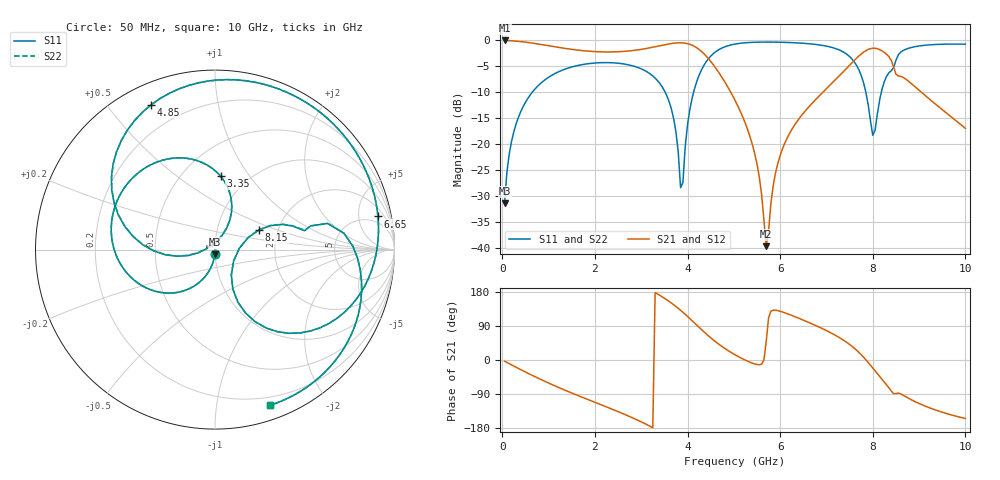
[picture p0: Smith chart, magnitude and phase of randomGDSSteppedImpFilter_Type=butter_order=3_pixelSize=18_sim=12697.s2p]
! freq	dB(S11)	phase(S11)	dB(S12)	phase(S12)
!  dB(S21)	phase(S21)	dB(S22)	phase(S22)
!S-par simulation data
#  GHz  S  DB  R 50
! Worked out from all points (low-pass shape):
!   200 points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, 50 MHz to 10 GHz, reference 50 ohm
!   highest |S21| = -0.01 dB at 50 MHz (marker M1); lowest = -39.7 dB at 5.7 GHz (marker M2)
!   |S21| within 3 dB of the highest: start of sweep to 4.401 GHz; 7.7 GHz to 8.335 GHz (634.7 MHz wide, 7.92 % of centre)
!   lowest |S11| = -31.4 dB at 50 MHz (marker M3), VSWR 1.06, Z = 49.8 - j2.68 ohm
!   |S11| at or under -10 dB: start of sweep to 646.6 MHz; 3.517 GHz to 4.131 GHz (613.8 MHz wide, 16.1 % of centre); 7.851 GHz to 8.185 GHz (333.8 MHz wide, 4.16 % of centre)
!   |S22| runs from -31.4 to -0.3 dB; largest |S21 - S12| = 0
!   S11 on the Smith chart (normalised r, x): 50 MHz: 1.00, -0.05; 3.35 GHz: 0.75, +0.74; 4.85 GHz: 0.09, +0.65; 6.65 GHz: 3.33, +8.68; 8.15 GHz: 1.60, +0.38; 10 GHz: 0.12, -1.41
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0.05  -31.38 -93.3  -0.01 -3.3  -0.01 -3.3  -31.38 -93.3
0.2  -19.45 -103.4  -0.07 -12.9  -0.07 -12.9  -19.45 -103.4
0.5  -11.94 -122.3  -0.33 -31.7  -0.33 -31.7  -11.94 -122.3
1.75  -4.63 170.0  -1.98 -99.5  -1.98 -99.5  -4.63 170.0
3.35  -7.73 85.7  -1.13 174.3  -1.13 174.3  -7.73 85.8
3.4  -8.27 82.3  -1.03 170.7  -1.03 170.7  -8.27 82.5
3.7  -15.04 62.8  -0.54 145.9  -0.54 145.9  -15.03 63.1
3.85  -28.38 88.6  -0.46 131.2  -0.46 131.2  -28.17 89.8
4.2  -7.89 176.2  -1.43 92.0  -1.43 92.0  -7.89 176.0
4.85  -1.09 113.7  -8.67 26.9  -8.67 26.9  -1.09 113.7
5.05  -0.66 99.0  -11.98 12.2  -11.98 12.2  -0.66 99.0
5.5  -0.34 71.1  -23.83 -11.9  -23.83 -11.9  -0.34 71.1
5.7  -0.32 60.2  -39.66 50.2  -39.66 50.2  -0.32 60.1
6  -0.35 44.5  -22.17 128.7  -22.17 128.7  -0.35 44.5
6.65  -0.66 11.5  -12.50 97.4  -12.50 97.4  -0.66 11.5
6.7  -0.71 8.9  -12.02 94.7  -12.02 94.7  -0.71 8.9
7.6  -4.13 -48.6  -3.86 31.2  -3.86 31.2  -4.13 -48.6
8  -18.29 -31.6  -1.51 -21.1  -1.51 -21.1  -18.34 -31.6
8.15  -11.41 24.1  -1.78 -43.8  -1.78 -43.8  -11.41 24.3
8.35  -6.22 13.5  -3.15 -73.6  -3.15 -73.6  -6.20 13.7
8.85  -1.33 -18.5  -8.45 -106.1  -8.45 -106.1  -1.32 -18.5
10  -0.72 -70.4  -16.95 -154.3  -16.95 -154.3  -0.72 -70.4
